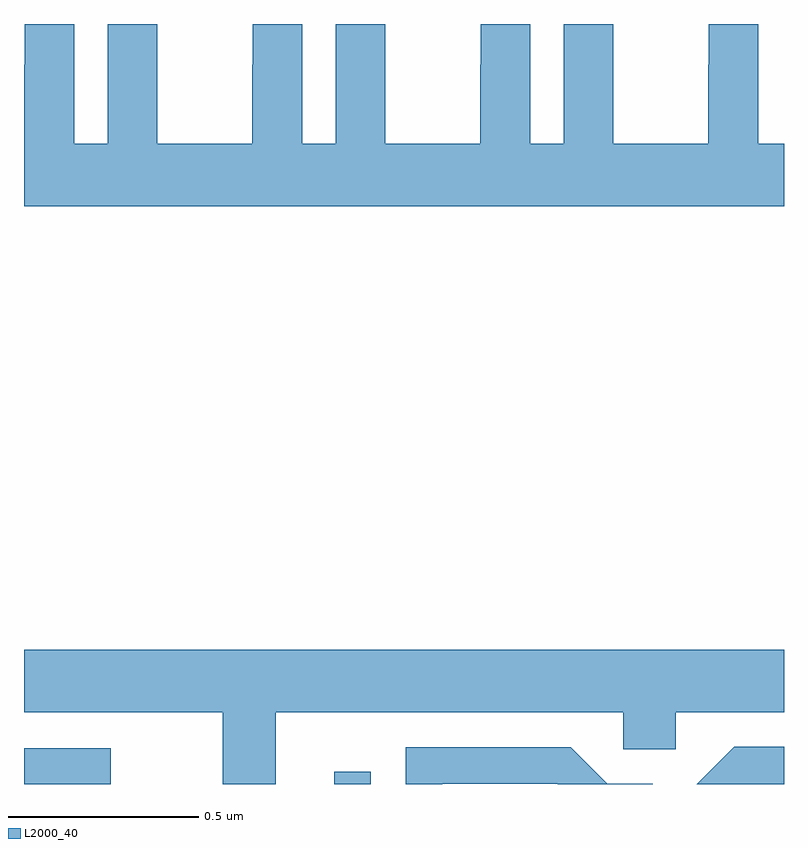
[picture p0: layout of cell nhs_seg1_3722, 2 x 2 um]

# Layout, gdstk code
import gdstk
lib = gdstk.Library(unit=1e-6, precision=1e-09)
def R(c, l, rs):  # rectangles x0, y0, x1, y1
    for r in rs: c.add(gdstk.rectangle(r[:2], r[2:], *l))
def P(c, l, *ps):  # polygons
    for p in ps: c.add(gdstk.Polygon(p, *l))
L2000_40 = (2000, 40)

nhs_seg1_3722 = lib.new_cell('nhs_seg1_3722')
R(nhs_seg1_3722, L2000_40, [(157,562.199,157.228,562.293), (157.817,562.199,157.913,562.231)])
P(nhs_seg1_3722, L2000_40, [(159,563.884),(158.932,563.884),(158.932,564.199),(158.802,564.199),(158.802,564.092),(158.801,564.092),(158.801,563.884),(158.551,563.884),(158.551,564.092),(158.55,564.092),(158.55,564.199),(158.42,564.199),(158.42,563.884),(158.332,563.884),(158.332,564.199),(158.202,564.199),(158.202,564.092),(158.201,564.092),(158.201,563.884),(157.951,563.884),(157.951,564.092),(157.95,564.092),(157.95,564.199),(157.82,564.199),(157.82,563.884),(157.732,563.884),(157.732,564.199),(157.602,564.199),(157.602,564.092),(157.601,564.092),(157.601,563.884),(157.351,563.884),(157.351,564.092),(157.35,564.092),(157.35,564.199),(157.22,564.199),(157.22,563.884),(157.132,563.884),(157.132,564.199),(157.002,564.199),(157.002,564.092),(157.001,564.092),(157.001,563.884),(157,563.884),(157,563.72),(159,563.72)],
  [(157.663,562.388),(158.577,562.388),(158.577,562.29),(158.715,562.29),(158.715,562.388),(159,562.388),(159,562.552),(157,562.552),(157,562.388),(157.523,562.388),(157.523,562.199),(157.663,562.199)],
  [(159,562.297),(158.869,562.297),(158.771,562.199),(159,562.199)],
  [(158.1,562.2),(158.403,562.2),(158.404,562.199),(158.654,562.199),(158.654,562.2),(158.535,562.2),(158.439,562.296),(158.004,562.296),(158.004,562.199),(158.1,562.199)])

lib.write_gds('nhs_seg1_3722.gds')
